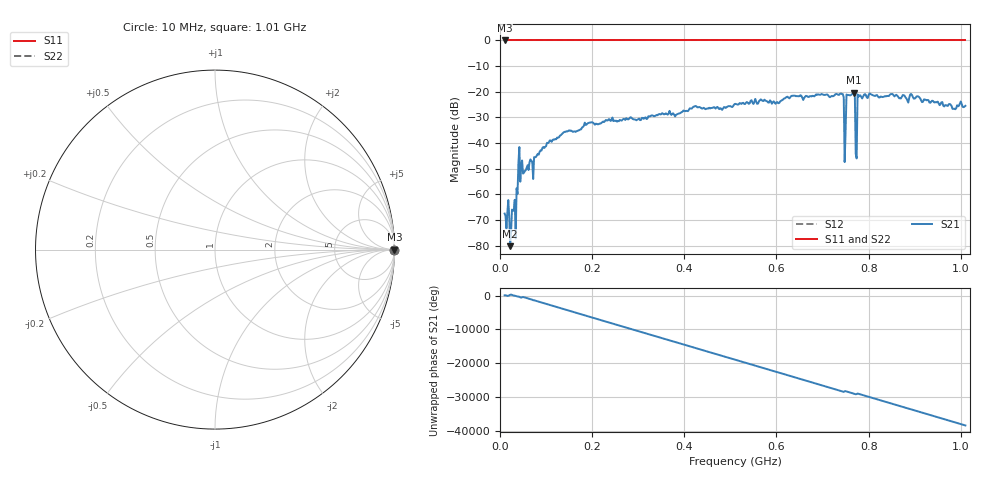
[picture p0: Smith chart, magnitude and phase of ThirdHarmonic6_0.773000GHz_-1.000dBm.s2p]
! 8/16/2025 1:49:33 AM
! C:\ANRITSUVNA\TEMP\TEMP.S2P
! CHANNEL.1
! TR.MEASUREMENT
! RAW.DATA
! RF.CORRECTION.OFF
! AVERAGING.OFF
! IF.BANDWIDTH: 5KHZ
! SWEEPTYPE:  FREQ.SWEEP(Linear)
! Reference Plane Port Info
! PORT:  PORT1  PORT2
! DISTANCE:  0  m  0  m
! TIME:  0  s  0  s
! PHASE.OFFSET:  0  deg.  0  deg.
! LOSS:  0  dB  0  dB
! REF.LOSS:  0  dB  0  dB
! REF.FREQ:  0  Hz  0  Hz
! Power Info
! POWER:  -20  dBm  -20  dBm
! EFF.POWER:  -20  dBm  -20  dBm
! SOURCE.ATTEN:  0  dB  0  dB
! TEST.ATTEN:  0  dB  0  dB
# GHZ S RI R 50.0
! FREQ.GHZ  S11RE  S11IM  S21RE  S21IM  S12RE  S12IM  S22RE  S22IM
!; PortSelection: Port_12
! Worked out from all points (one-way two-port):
!   501 points, 10 MHz to 1.01 GHz, reference 50 ohm
!   highest |S21| = -20.36 dB at 768 MHz (marker M1); lowest = -80.2 dB at 22 MHz (marker M2)
!   lowest |S11| = 0.0 dB at 10 MHz (marker M3)
!   |S11| at or under -10 dB: nowhere
!   |S22| runs from 0.0 to 0.0 dB; largest |S21 - S12| = 1.1
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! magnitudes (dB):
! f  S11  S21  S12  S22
! 10 MHz  0.0  -67.5  0.0  0.0
! 22 MHz  0.0  -80.2  0.0  0.0
! 34 MHz  0.0  -77.2  0.0  0.0
! 40 MHz  0.0  -47.7  0.0  0.0
! 44 MHz  0.0  -55.1  0.0  0.0
! 54 MHz  0.0  -50.9  0.0  0.0
! 106 MHz  0.0  -39.7  0.0  0.0
! 178 MHz  0.0  -34.0  0.0  0.0
! 344 MHz  0.0  -28.8  0.0  0.0
! 510 MHz  0.0  -24.7  0.0  0.0
! 678 MHz  0.0  -21.6  0.0  0.0
! 742 MHz  0.0  -20.9  0.0  0.0
! 746 MHz  0.0  -22.2  0.0  0.0
! 752 MHz  0.0  -21.1  0.0  0.0
! 756 MHz  0.0  -21.3  0.0  0.0
! 766 MHz  0.0  -20.8  0.0  0.0
! 768 MHz  0.0  -20.4  0.0  0.0
! 770 MHz  0.0  -20.4  0.0  0.0
! 776 MHz  0.0  -21.0  0.0  0.0
! 780 MHz  0.0  -21.4  0.0  0.0
! 844 MHz  0.0  -21.7  0.0  0.0
! 1.01 GHz  0.0  -25.5  0.0  0.0
